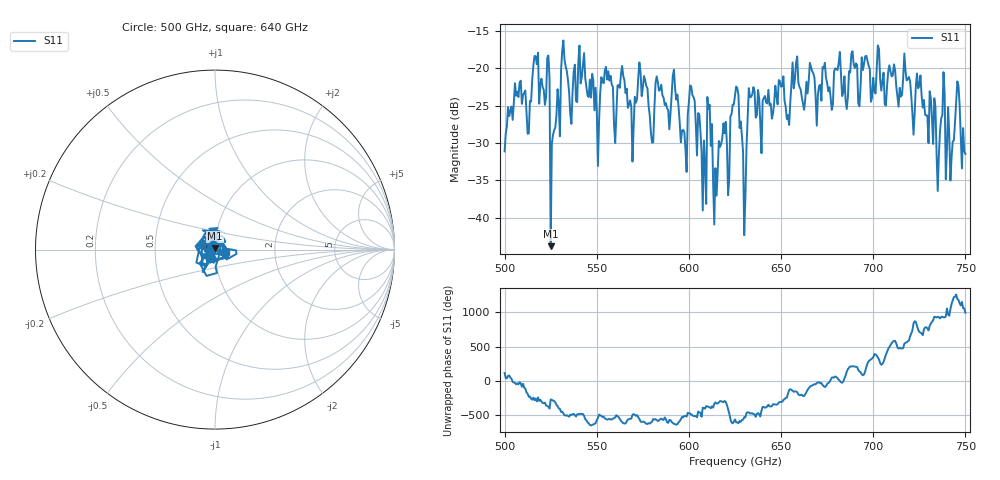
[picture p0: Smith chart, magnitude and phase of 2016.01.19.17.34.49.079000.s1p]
!Created with skrf (http://scikit-rf.org).
# GHz S RI R 50.0
!freq ReS11 ImS11
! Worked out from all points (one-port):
!   401 points, 500 GHz to 750 GHz, reference 50 ohm
!   lowest |S11| = -43.8 dB at 525 GHz (marker M1), VSWR 1.01, Z = 50 + j0.644 ohm
!   |S11| at or under -10 dB: start of sweep to end of sweep
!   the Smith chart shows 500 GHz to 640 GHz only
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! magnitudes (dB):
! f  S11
! 500 GHz  -31.1
! 506.9 GHz  -23.1
! 513.1 GHz  -28.7
! 516.9 GHz  -18.4
! 523.1 GHz  -18.6
! 525 GHz  -43.8
! 526.2 GHz  -28.9
! 531.2 GHz  -17.7
! 550 GHz  -25.6
! 562.5 GHz  -22.6
! 580 GHz  -30.0
! 593.8 GHz  -23.5
! 597.5 GHz  -28.5
! 601.9 GHz  -23.6
! 608.1 GHz  -29.7
! 611.2 GHz  -24.9
! 614.4 GHz  -33.4
! 625 GHz  -23.7
! 630 GHz  -42.3
! 633.8 GHz  -23.8
! 656.2 GHz  -19.2
! 687.5 GHz  -20.5
! 718.8 GHz  -21.4
! 735.6 GHz  -31.6
! 737.5 GHz  -26.3
! 743.1 GHz  -29.8
! 745.6 GHz  -21.7
! 750 GHz  -31.5
